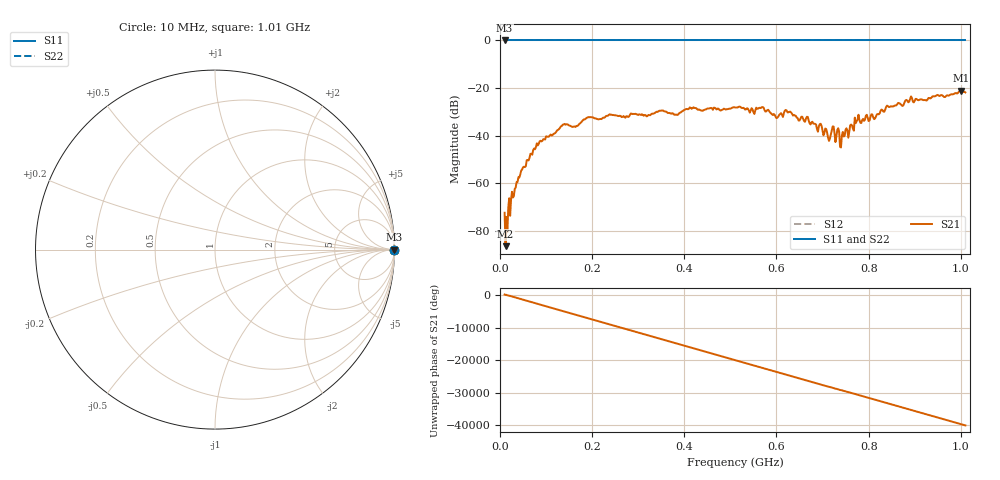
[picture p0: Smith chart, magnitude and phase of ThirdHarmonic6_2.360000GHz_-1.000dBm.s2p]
! 8/17/2025 3:37:15 AM
! C:\ANRITSUVNA\TEMP\TEMP.S2P
! CHANNEL.1
! TR.MEASUREMENT
! RAW.DATA
! RF.CORRECTION.OFF
! AVERAGING.OFF
! IF.BANDWIDTH: 5KHZ
! SWEEPTYPE:  FREQ.SWEEP(Linear)
! Reference Plane Port Info
! PORT:  PORT1  PORT2
! DISTANCE:  0  m  0  m
! TIME:  0  s  0  s
! PHASE.OFFSET:  0  deg.  0  deg.
! LOSS:  0  dB  0  dB
! REF.LOSS:  0  dB  0  dB
! REF.FREQ:  0  Hz  0  Hz
! Power Info
! POWER:  -20  dBm  -20  dBm
! EFF.POWER:  -20  dBm  -20  dBm
! SOURCE.ATTEN:  0  dB  0  dB
! TEST.ATTEN:  0  dB  0  dB
# GHZ S RI R 50.0
! FREQ.GHZ  S11RE  S11IM  S21RE  S21IM  S12RE  S12IM  S22RE  S22IM
!; PortSelection: Port_12
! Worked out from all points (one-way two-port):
!   501 points, 10 MHz to 1.01 GHz, reference 50 ohm
!   highest |S21| = -21.14 dB at 1 GHz (marker M1); lowest = -86.4 dB at 12 MHz (marker M2)
!   lowest |S11| = 0.0 dB at 10 MHz (marker M3)
!   |S11| at or under -10 dB: nowhere
!   |S22| runs from 0.0 to 0.0 dB; largest |S21 - S12| = 1.1
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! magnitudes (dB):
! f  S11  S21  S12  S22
! 10 MHz  0.0  -72.3  0.0  0.0
! 12 MHz  0.0  -86.4  0.0  0.0
! 44 MHz  0.0  -56.3  0.0  0.0
! 76 MHz  0.0  -45.7  0.0  0.0
! 136 MHz  0.0  -35.4  0.0  0.0
! 178 MHz  0.0  -33.9  0.0  0.0
! 344 MHz  0.0  -29.7  0.0  0.0
! 382 MHz  0.0  -31.1  0.0  0.0
! 416 MHz  0.0  -28.7  0.0  0.0
! 510 MHz  0.0  -28.1  0.0  0.0
! 568 MHz  0.0  -28.0  0.0  0.0
! 600 MHz  0.0  -32.6  0.0  0.0
! 622 MHz  0.0  -29.4  0.0  0.0
! 678 MHz  0.0  -34.1  0.0  0.0
! 714 MHz  0.0  -42.2  0.0  0.0
! 722 MHz  0.0  -36.1  0.0  0.0
! 742 MHz  0.0  -39.8  0.0  0.0
! 774 MHz  0.0  -33.9  0.0  0.0
! 814 MHz  0.0  -32.7  0.0  0.0
! 844 MHz  0.0  -28.0  0.0  0.0
! 1 GHz  0.0  -21.1  0.0  0.0
! 1.01 GHz  0.0  -21.8  0.0  0.0
